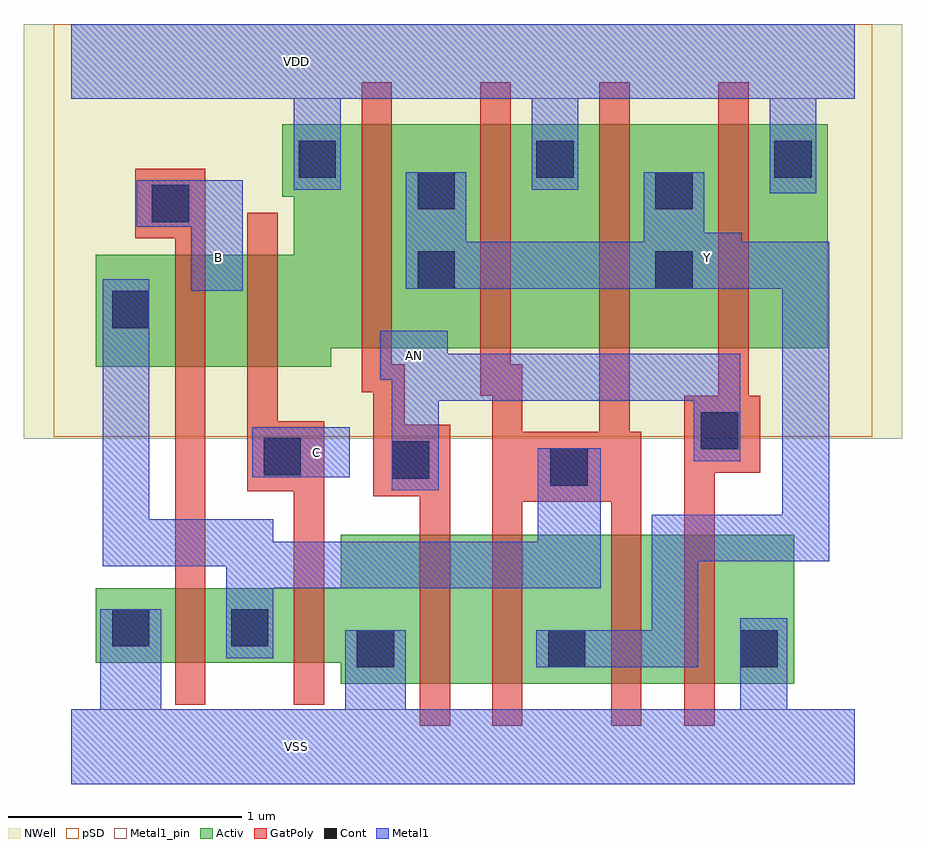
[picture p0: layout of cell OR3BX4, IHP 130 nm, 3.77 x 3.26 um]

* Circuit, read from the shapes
.subckt OR3BX4 AN B C VDD VSS Y
XM1 n1 B VSS VSUBS sg13_lv_nmos w=0.32u l=0.13u
XM2 VSS C n1 VSUBS sg13_lv_nmos w=0.32u l=0.13u
XM3 n2 AN VSS VSUBS sg13_lv_nmos w=0.64u l=0.13u
XM4 Y n1 n2 VSUBS sg13_lv_nmos w=0.64u l=0.13u
XM5 n3 n1 Y VSUBS sg13_lv_nmos w=0.64u l=0.13u
XM6 VSS AN n3 VSUBS sg13_lv_nmos w=0.64u l=0.13u
XM7 n4 B n1 n5 sg13_lv_pmos w=0.48u l=0.13u
XM8 VDD C n4 n5 sg13_lv_pmos w=0.48u l=0.13u
XM9 Y AN VDD n5 sg13_lv_pmos w=0.96u l=0.13u m=2
XM10 VDD n1 Y n5 sg13_lv_pmos w=0.96u l=0.13u m=2
.ends

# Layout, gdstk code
import gdstk
lib = gdstk.Library(unit=1e-6, precision=1e-09)
def R(c, l, rs):  # rectangles x0, y0, x1, y1
    for r in rs: c.add(gdstk.rectangle(r[:2], r[2:], *l))
def A(c, l, x, y, w, h, nx, ny, dx, dy):  # array of equal rectangles
    R(c, l, [(x+i*dx, y+j*dy, x+i*dx+w, y+j*dy+h) for i in range(nx) for j in range(ny)])
def P(c, l, *ps):  # polygons
    for p in ps: c.add(gdstk.Polygon(p, *l))
Activ = (1, 0)
GatPoly = (5, 0)
Cont = (6, 0)
Metal1 = (8, 0)
Metal1_pin = (8, 2)
pSD = (14, 0)
NWell = (31, 0)

or3bx4 = lib.new_cell('OR3BX4')
P(or3bx4, Activ, [(0.105,1.63),(0.105,2.11),(0.955,2.11),(0.955,2.36),(0.905,2.36),(0.905,2.67),(3.245,2.67),(3.245,1.71),(1.115,1.71),(1.115,1.63)],
  [(1.155,0.27),(1.155,0.36),(0.105,0.36),(0.105,0.68),(1.155,0.68),(1.155,0.91),(3.1,0.91),(3.1,0.27)])
P(or3bx4, GatPoly, [(2.63,0.09),(2.63,1.505),(2.775,1.505),(2.775,2.85),(2.905,2.85),(2.905,1.505),(2.955,1.505),(2.955,1.175),(2.76,1.175),(2.76,0.09)],
  [(0.445,0.18),(0.445,2.18),(0.275,2.18),(0.275,2.48),(0.575,2.48),(0.575,0.18)],
  [(0.955,0.18),(0.955,1.095),(0.755,1.095),(0.755,2.29),(0.885,2.29),(0.885,1.395),(1.085,1.395),(1.085,0.18)],
  [(1.495,0.09),(1.495,1.075),(1.295,1.075),(1.295,1.52),(1.245,1.52),(1.245,2.85),(1.375,2.85),(1.375,1.64),(1.43,1.64),(1.43,1.38),(1.625,1.38),(1.625,0.09)],
  [(1.805,0.09),(1.805,1.505),(1.755,1.505),(1.755,2.85),(1.885,2.85),(1.885,1.64),(1.935,1.64),(1.935,1.35),(2.265,1.35),(2.265,2.85),(2.395,2.85),(2.395,1.35),(2.445,1.35),(2.445,0.09),(2.315,0.09),(2.315,1.05),(1.935,1.05),(1.935,0.09)])
A(or3bx4, Cont, 0.975, 2.44, 0.16, 0.16, 3, 1, 1.02, 0)
R(or3bx4, Cont, [(1.225,0.34,1.385,0.5), (2.045,0.34,2.205,0.5), (2.87,0.34,3.03,0.5), (0.175,0.43,0.335,0.59), (0.685,0.43,0.845,0.59), (2.055,1.12,2.215,1.28), (1.375,1.15,1.535,1.31), (0.825,1.165,0.985,1.325), (2.7,1.275,2.86,1.435), (0.175,1.795,0.335,1.955), (1.485,1.965,1.645,2.125), (2.505,1.965,2.665,2.125), (0.345,2.25,0.505,2.41), (1.485,2.305,1.645,2.465), (2.505,2.305,2.665,2.465)])
R(or3bx4, Metal1, [(0.775,1.155,1.195,1.37)])
P(or3bx4, Metal1, [(2.995,2.375),(2.995,2.78),(2.175,2.78),(2.175,2.39),(1.975,2.39),(1.975,2.78),(1.155,2.78),(1.155,2.39),(0.955,2.39),(0.955,2.78),(0,2.78),(0,3.1),(3.36,3.1),(3.36,2.78),(3.195,2.78),(3.195,2.375)],
  [(0,-0.16),(0,0.16),(0.125,0.16),(0.125,0.59),(0.385,0.59),(0.385,0.16),(1.175,0.16),(1.175,0.5),(1.435,0.5),(1.435,0.16),(2.87,0.16),(2.87,0.55),(3.07,0.55),(3.07,0.16),(3.36,0.16),(3.36,-0.16)],
  [(1.375,1.1),(1.375,1.575),(1.325,1.575),(1.325,1.785),(1.615,1.785),(1.615,1.685),(2.87,1.685),(2.87,1.225),(2.67,1.225),(2.67,1.485),(1.575,1.485),(1.575,1.1)],
  [(1.995,0.34),(1.995,0.5),(2.49,0.5),(2.49,0.995),(3.05,0.995),(3.05,1.965),(1.435,1.965),(1.435,2.465),(1.695,2.465),(1.695,2.165),(2.455,2.165),(2.455,2.465),(2.715,2.465),(2.715,2.205),(2.875,2.205),(2.875,2.165),(3.25,2.165),(3.25,0.795),(2.69,0.795),(2.69,0.34)],
  [(0.515,1.955),(0.515,2.23),(0.28,2.23),(0.28,2.43),(0.735,2.43),(0.735,1.955)],
  [(0.665,0.38),(0.665,0.775),(0.135,0.775),(0.135,2.005),(0.335,2.005),(0.335,0.975),(0.865,0.975),(0.865,0.88),(2,0.88),(2,1.28),(2.27,1.28),(2.27,0.68),(0.865,0.68),(0.865,0.38)])
R(or3bx4, Metal1_pin, [(0,-0.16,3.36,0.16), (0.775,1.155,1.195,1.37), (0,2.78,3.36,3.1)])
P(or3bx4, Metal1_pin, [(1.375,1.1),(1.375,1.575),(1.325,1.575),(1.325,1.785),(1.615,1.785),(1.615,1.685),(2.87,1.685),(2.87,1.225),(2.67,1.225),(2.67,1.485),(1.575,1.485),(1.575,1.1)],
  [(0.515,1.955),(0.515,2.23),(0.28,2.23),(0.28,2.43),(0.735,2.43),(0.735,1.955)],
  [(1.995,0.34),(1.995,0.5),(2.49,0.5),(2.49,0.995),(3.05,0.995),(3.05,1.965),(1.435,1.965),(1.435,2.465),(1.695,2.465),(1.695,2.165),(2.455,2.165),(2.455,2.465),(2.715,2.465),(2.715,2.205),(2.875,2.205),(2.875,2.165),(3.25,2.165),(3.25,0.795),(2.69,0.795),(2.69,0.34)])
R(or3bx4, pSD, [(-0.075,1.33,3.435,3.1)])
R(or3bx4, NWell, [(-0.205,1.32,3.565,3.1)])
or3bx4.add(gdstk.Label('AN', (1.47,1.68), layer=8, texttype=25))
or3bx4.add(gdstk.Label('VDD', (0.965,2.94), layer=8, texttype=25))
or3bx4.add(gdstk.Label('VSS', (0.965,0), layer=8, texttype=25))
or3bx4.add(gdstk.Label('B', (0.63,2.1), layer=8, texttype=25))
or3bx4.add(gdstk.Label('Y', (2.73,2.1), layer=8, texttype=25))
or3bx4.add(gdstk.Label('C', (1.05,1.26), layer=8, texttype=25))

lib.write_gds('OR3BX4.gds')
